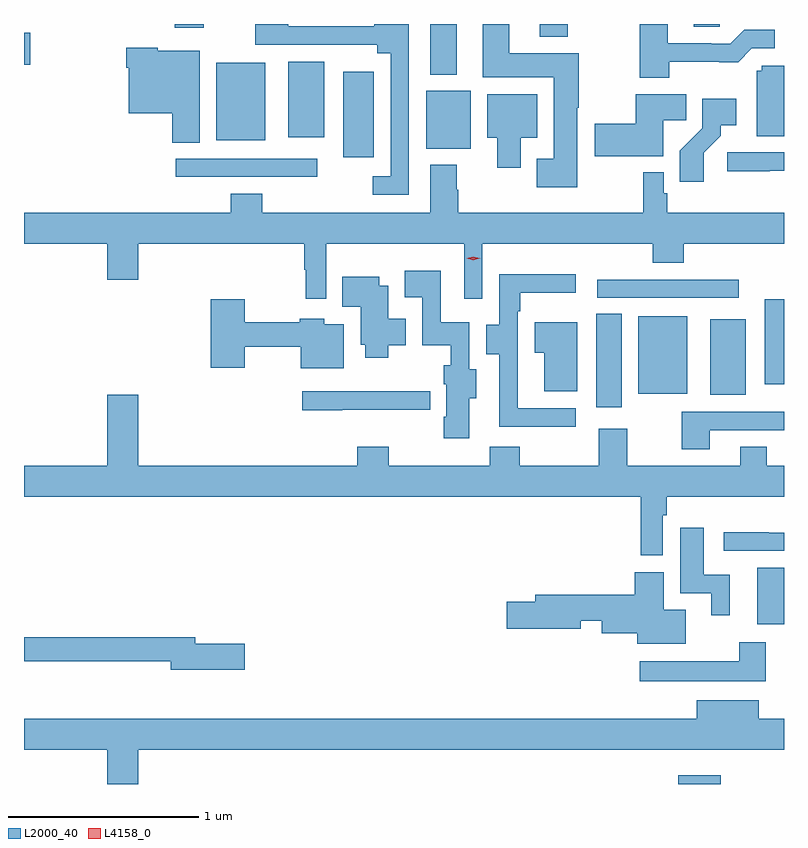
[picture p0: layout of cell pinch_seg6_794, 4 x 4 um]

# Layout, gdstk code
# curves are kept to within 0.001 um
import gdstk
lib = gdstk.Library(unit=1e-6, precision=1e-09)
def R(c, l, rs):  # rectangles x0, y0, x1, y1
    for r in rs: c.add(gdstk.rectangle(r[:2], r[2:], *l))
def P(c, l, *ps):  # polygons
    for p in ps: c.add(gdstk.Polygon(p, *l))
L2000_40 = (2000, 40)
L4158_0 = (4158, 0)

pinch_seg6_794 = lib.new_cell('pinch_seg6_794')
R(pinch_seg6_794, L2000_40, [(144.038,960.477,144.262,960.523), (144.455,961.319,144.595,961.615), (143.606,962.46,143.74,962.951), (144.206,962.525,144.394,962.923), (143.828,962.531,144.085,962.938), (144.494,962.58,144.595,963.028), (143.613,963.036,144.358,963.132), (141.393,963.672,142.138,963.768), (142.274,963.777,142.435,964.225), (142.712,963.821,142.945,964.126), (141.608,963.866,141.865,964.273), (141.986,963.881,142.174,964.279), (142.733,964.211,142.873,964.477), (140.595,964.262,140.629,964.432), (143.309,964.409,143.457,964.477), (141.389,964.458,141.541,964.477), (144.119,964.462,144.258,964.477)])
P(pinch_seg6_794, L2000_40, [(142.62,964.477),(142.439,964.477),(142.439,964.464),(141.985,964.464),(141.985,964.477),(141.812,964.477),(141.812,964.368),(142.454,964.368),(142.454,964.322),(142.524,964.322),(142.524,963.675),(142.431,963.675),(142.431,963.579),(142.62,963.579)],
  [(143.506,964.036),(143.514,964.036),(143.514,964.324),(143.149,964.324),(143.149,964.477),(143.009,964.477),(143.009,964.196),(143.384,964.196),(143.384,963.769),(143.294,963.769),(143.294,963.617),(143.506,963.617)],
  [(143.991,964.278),(144.353,964.277),(144.426,964.35),(144.547,964.35),(144.547,964.447),(144.385,964.447),(144.312,964.374),(144.212,964.374),(144.212,964.377),(143.983,964.377),(143.983,964.477),(143.836,964.477),(143.836,964.193),(143.991,964.193)],
  [(141.52,964.336),(141.3,964.336),(141.3,964.351),(141.134,964.351),(141.134,964.247),(141.146,964.247),(141.146,964.007),(141.374,964.007),(141.374,963.853),(141.52,963.853)],
  [(144.595,964.257),(144.477,964.257),(144.477,964.23),(144.452,964.23),(144.452,963.886),(144.595,963.886)],
  [(143.209,963.878),(143.296,963.878),(143.296,964.108),(143.033,964.108),(143.033,963.878),(143.087,963.878),(143.087,963.72),(143.209,963.72)],
  [(143.959,963.97),(144.08,963.97),(144.08,964.108),(143.815,964.108),(143.815,963.953),(143.598,963.953),(143.598,963.782),(143.959,963.782)],
  [(144.172,963.799),(144.262,963.889),(144.262,963.944),(144.343,963.944),(144.343,964.084),(144.165,964.084),(144.165,963.929),(144.046,963.81),(144.046,963.648),(144.172,963.648)],
  [(144.521,963.705),(144.595,963.705),(144.595,963.801),(144.297,963.801),(144.297,963.703),(144.521,963.703)],
  [(142.185,963.32),(142.911,963.32),(142.911,963.03),(143.007,963.03),(143.007,963.32),(143.903,963.32),(143.903,963.221),(144.068,963.221),(144.068,963.32),(144.595,963.32),(144.595,963.484),(143.981,963.484),(143.981,963.585),(143.961,963.585),(143.961,963.697),(143.853,963.697),(143.853,963.484),(142.881,963.484),(142.881,963.605),(142.873,963.605),(142.873,963.736),(142.733,963.736),(142.733,963.484),(141.848,963.484),(141.848,963.583),(141.683,963.583),(141.683,963.484),(140.595,963.484),(140.595,963.32),(141.032,963.32),(141.032,963.132),(141.196,963.132),(141.196,963.32),(142.069,963.32),(142.069,963.183),(142.077,963.183),(142.077,963.03),(142.185,963.03)],
  [(142.939,962.506),(142.975,962.506),(142.975,962.661),(142.938,962.661),(142.938,962.908),(142.788,962.908),(142.788,963.178),(142.599,963.178),(142.599,963.038),(142.692,963.038),(142.692,962.786),(142.84,962.786),(142.84,962.682),(142.805,962.682),(142.805,962.582),(142.817,962.582),(142.817,962.41),(142.805,962.41),(142.805,962.298),(142.939,962.298)],
  [(143.5,962.454),(143.194,962.454),(143.194,962.651),(143.193,962.651),(143.193,962.966),(143.206,962.966),(143.206,963.062),(143.5,963.062),(143.5,963.16),(143.097,963.16),(143.097,962.895),(143.027,962.895),(143.027,962.74),(143.097,962.74),(143.097,962.358),(143.5,962.358)],
  [(142.513,962.786),(142.603,962.786),(142.603,962.926),(142.513,962.926),(142.513,963.1),(142.465,963.1),(142.465,963.148),(142.27,963.148),(142.27,962.99),(142.367,962.99),(142.367,962.79),(142.391,962.79),(142.391,962.72),(142.513,962.72)],
  [(142.279,962.896),(142.174,962.896),(142.174,962.926),(142.045,962.926),(142.045,962.908),(141.756,962.908),(141.756,963.028),(141.578,963.028),(141.578,962.667),(141.756,962.667),(141.756,962.779),(142.052,962.779),(142.052,962.666),(142.279,962.666)],
  [(143.506,962.908),(143.282,962.908),(143.282,962.747),(143.333,962.747),(143.333,962.543),(143.506,962.543)],
  [(142.271,962.447),(142.732,962.447),(142.732,962.545),(142.375,962.545),(142.375,962.544),(142.059,962.544),(142.059,962.443),(142.271,962.443)],
  [(143.958,961.892),(143.978,961.892),(143.978,961.988),(144.595,961.988),(144.595,962.152),(144.505,962.152),(144.505,962.251),(144.365,962.251),(144.365,962.152),(143.769,962.152),(143.769,962.347),(143.621,962.347),(143.621,962.152),(143.205,962.152),(143.205,962.251),(143.045,962.251),(143.045,962.152),(142.514,962.152),(142.514,962.251),(142.349,962.251),(142.349,962.152),(141.196,962.152),(141.196,962.527),(141.032,962.527),(141.032,962.152),(140.595,962.152),(140.595,961.988),(143.842,961.988),(143.842,961.68),(143.958,961.68)],
  [(144.205,962.34),(144.595,962.34),(144.595,962.436),(144.058,962.436),(144.058,962.238),(144.205,962.238)],
  [(144.31,961.578),(144.172,961.578),(144.172,961.825),(144.05,961.825),(144.05,961.482),(144.212,961.482),(144.212,961.365),(144.31,961.365)],
  [(144.595,961.8),(144.515,961.8),(144.515,961.802),(144.279,961.802),(144.279,961.704),(144.595,961.704)],
  [(144.079,961.393),(143.962,961.393),(143.962,961.591),(143.81,961.591),(143.81,961.472),(143.285,961.472),(143.285,961.436),(143.136,961.436),(143.136,961.294),(143.524,961.294),(143.524,961.336),(143.636,961.336),(143.636,961.271),(143.822,961.271),(143.822,961.214),(144.079,961.214)],
  [(141.757,961.214),(141.496,961.214),(141.496,961.25),(140.595,961.25),(140.595,961.122),(141.368,961.122),(141.368,961.079),(141.757,961.079)],
  [(144.499,961.222),(144.359,961.222),(144.359,961.123),(143.835,961.123),(143.835,961.019),(144.499,961.019)],
  [(141.196,960.656),(144.595,960.656),(144.595,960.82),(144.463,960.82),(144.463,960.919),(144.137,960.919),(144.137,960.82),(140.595,960.82),(140.595,960.656),(141.032,960.656),(141.032,960.477),(141.196,960.477)])
P(pinch_seg6_794, L4158_0, [(142.959,963.233),(142.924,963.243),(142.923,963.243),(142.924,963.243),(142.959,963.253),(142.994,963.243),(142.995,963.243),(142.994,963.243)])

lib.write_gds('pinch_seg6_794.gds')
